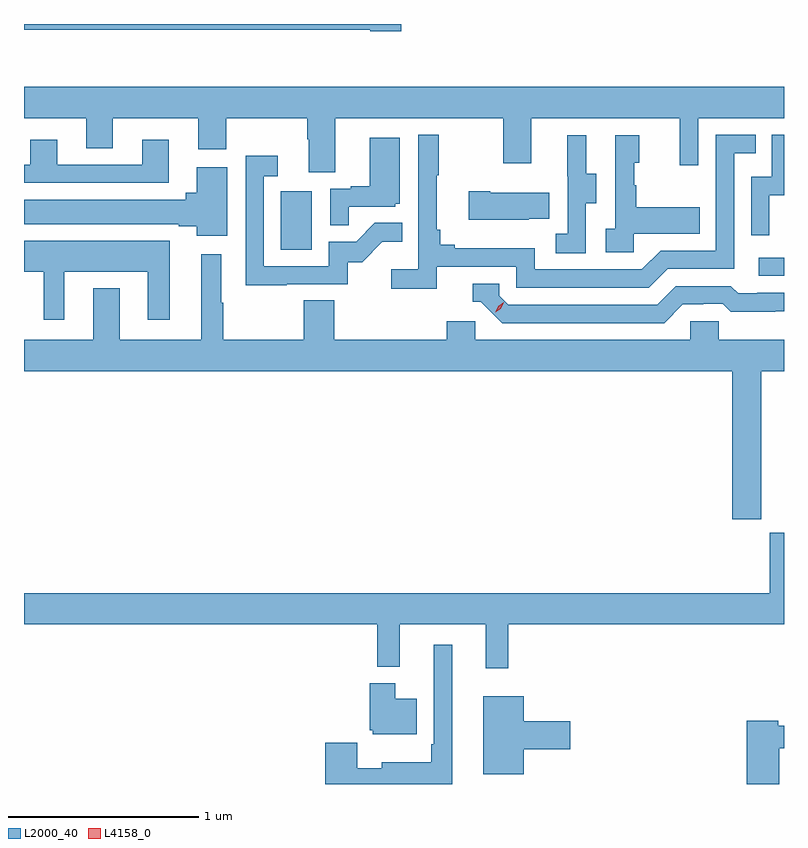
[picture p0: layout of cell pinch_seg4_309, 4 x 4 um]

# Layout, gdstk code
import gdstk
lib = gdstk.Library(unit=1e-6, precision=1e-09)
def R(c, l, rs):  # rectangles x0, y0, x1, y1
    for r in rs: c.add(gdstk.rectangle(r[:2], r[2:], *l))
def P(c, l, *ps):  # polygons
    for p in ps: c.add(gdstk.Polygon(p, *l))
L2000_40 = (2000, 40)
L4158_0 = (4158, 0)

pinch_seg4_309 = lib.new_cell('pinch_seg4_309')
R(pinch_seg4_309, L2000_40, [(943.059,805.314,943.193,805.41), (940.544,805.452,940.708,805.759)])
P(pinch_seg4_309, L2000_40, [(941.179,806.639),(939.193,806.639),(939.193,806.61),(941.016,806.61),(941.016,806.602),(941.179,806.602)],
  [(940.831,806.144),(941.716,806.144),(941.716,805.905),(941.863,805.905),(941.863,806.144),(942.644,806.144),(942.644,805.896),(942.741,805.896),(942.741,806.144),(943.193,806.144),(943.193,806.308),(939.193,806.308),(939.193,806.144),(939.521,806.144),(939.521,805.984),(939.661,805.984),(939.661,806.144),(940.109,806.144),(940.109,805.98),(940.257,805.98),(940.257,806.144),(940.684,806.144),(940.684,806.032),(940.691,806.032),(940.691,805.858),(940.831,805.858)],
  [(941.366,805.362),(941.784,805.362),(941.784,805.251),(942.481,805.251),(942.58,805.35),(942.93,805.35),(942.93,805.959),(943.043,805.959),(943.043,806.055),(942.834,806.055),(942.834,805.446),(942.543,805.446),(942.444,805.347),(941.88,805.347),(941.88,805.459),(941.461,805.459),(941.461,805.478),(941.384,805.478),(941.384,805.555),(941.365,805.555),(941.365,805.843),(941.377,805.843),(941.377,806.056),(941.268,806.056),(941.268,805.348),(941.127,805.348),(941.127,805.246),(941.366,805.246)],
  [(943.116,805.739),(943.193,805.739),(943.193,806.055),(943.128,806.055),(943.128,805.836),(943.02,805.836),(943.02,805.527),(943.116,805.527)],
  [(942.15,805.696),(942.205,805.696),(942.205,805.851),(942.151,805.851),(942.151,806.053),(942.053,806.053),(942.053,805.839),(942.054,805.839),(942.054,805.535),(941.991,805.535),(941.991,805.432),(942.15,805.432)],
  [(942.402,805.535),(942.749,805.535),(942.749,805.675),(942.415,805.675),(942.415,805.79),(942.405,805.79),(942.405,805.908),(942.43,805.908),(942.43,806.053),(942.306,806.053),(942.306,805.562),(942.255,805.562),(942.255,805.437),(942.402,805.437)],
  [(940.901,805.677),(941.148,805.677),(941.148,805.692),(941.17,805.692),(941.17,806.041),(941.012,806.041),(941.012,805.786),(940.913,805.786),(940.913,805.773),(940.806,805.773),(940.806,805.579),(940.901,805.579)],
  [(939.955,806.029),(939.815,806.029),(939.815,805.899),(939.367,805.899),(939.367,806.029),(939.227,806.029),(939.227,805.899),(939.193,805.899),(939.193,805.803),(939.955,805.803)],
  [(940.577,805.269),(940.896,805.269),(940.896,805.386),(940.972,805.386),(941.079,805.493),(941.183,805.493),(941.183,805.592),(941.039,805.592),(940.941,805.494),(940.797,805.494),(940.797,805.365),(940.455,805.365),(940.455,805.839),(940.528,805.839),(940.528,805.945),(940.359,805.945),(940.359,805.264),(940.577,805.264)],
  [(940.264,805.885),(940.103,805.885),(940.103,805.75),(940.043,805.75),(940.043,805.714),(939.193,805.714),(939.193,805.586),(940.007,805.586),(940.007,805.574),(940.103,805.574),(940.103,805.524),(940.264,805.524)],
  [(941.849,805.613),(941.957,805.613),(941.957,805.75),(941.647,805.75),(941.647,805.758),(941.535,805.758),(941.535,805.61),(941.849,805.61)],
  [(939.406,805.334),(939.845,805.334),(939.845,805.083),(939.961,805.083),(939.961,805.498),(939.193,805.498),(939.193,805.334),(939.296,805.334),(939.296,805.083),(939.406,805.083)],
  [(943.072,804.812),(943.193,804.812),(943.193,804.976),(942.849,804.976),(942.849,805.074),(942.699,805.074),(942.699,804.976),(941.568,804.976),(941.568,805.074),(941.417,805.074),(941.417,804.976),(940.826,804.976),(940.826,805.184),(940.666,805.184),(940.666,804.976),(940.241,804.976),(940.241,805.172),(940.231,805.172),(940.231,805.426),(940.127,805.426),(940.127,804.976),(939.697,804.976),(939.697,805.249),(939.557,805.249),(939.557,804.976),(939.193,804.976),(939.193,804.812),(942.92,804.812),(942.92,804.033),(943.072,804.033)],
  [(942.661,805.164),(942.768,805.164),(942.768,805.167),(942.871,805.167),(942.913,805.125),(943.146,805.125),(943.146,805.127),(943.193,805.127),(943.193,805.224),(943.051,805.224),(943.051,805.221),(942.952,805.221),(942.913,805.26),(942.624,805.26),(942.525,805.161),(941.742,805.161),(941.694,805.209),(941.694,805.272),(941.555,805.272),(941.555,805.176),(941.598,805.176),(941.709,805.065),(942.562,805.065)],
  [(941.741,803.48),(943.193,803.48),(943.193,803.961),(943.118,803.961),(943.118,803.644),(939.193,803.644),(939.193,803.48),(941.053,803.48),(941.053,803.255),(941.171,803.255),(941.171,803.48),(941.624,803.48),(941.624,803.247),(941.741,803.247)],
  [(941.446,803.371),(941.349,803.371),(941.349,802.849),(941.337,802.849),(941.337,802.753),(941.075,802.753),(941.075,802.723),(940.948,802.723),(940.948,802.855),(940.778,802.855),(940.778,802.639),(941.446,802.639)],
  [(941.26,803.089),(941.146,803.089),(941.146,803.17),(941.012,803.17),(941.012,802.923),(941.028,802.923),(941.028,802.901),(941.26,802.901)],
  [(941.824,802.823),(942.067,802.823),(942.067,802.97),(941.824,802.97),(941.824,803.101),(941.609,803.101),(941.609,802.691),(941.824,802.691)],
  [(943.168,802.828),(943.193,802.828),(943.193,802.945),(943.164,802.945),(943.164,802.972),(942.998,802.972),(942.998,802.639),(943.168,802.639)])
P(pinch_seg4_309, L4158_0, [(941.672,805.122),(941.672,805.122),(941.688,805.154),(941.718,805.174),(941.719,805.174),(941.719,805.174),(941.703,805.141),(941.673,805.122)])

lib.write_gds('pinch_seg4_309.gds')
